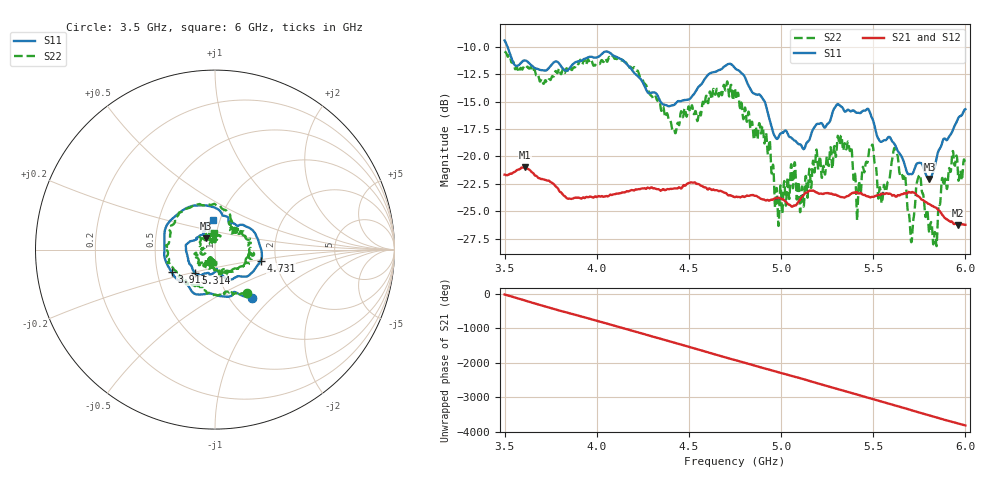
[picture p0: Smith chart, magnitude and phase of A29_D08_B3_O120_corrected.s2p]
! Created with skrf 1.9.0 (http://scikit-rf.org).
# Hz S RI R 50.0
!freq ReS11 ImS11 ReS21 ImS21 ReS12 ImS12 ReS22 ImS22
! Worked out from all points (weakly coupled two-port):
!   1601 points, 3.5 GHz to 6 GHz, reference 50 ohm
!   highest |S21| = -21.00 dB at 3.609 GHz (marker M1); lowest = -26.3 dB at 5.959 GHz (marker M2)
!   lowest |S11| = -22.1 dB at 5.805 GHz (marker M3), VSWR 1.17, Z = 45 + j5.61 ohm
!   |S11| at or under -10 dB: 3.516 GHz to end of sweep
!   |S22| runs from -28.2 to -10.4 dB; largest |S21 - S12| = 0.0011
!   S11 on the Smith chart (normalised r, x): 3.5 GHz: 1.26, -0.76; 3.913 GHz: 0.59, -0.16; 4.731 GHz: 1.67, -0.22; 5.314 GHz: 0.78, -0.21; 6 GHz: 0.93, +0.31
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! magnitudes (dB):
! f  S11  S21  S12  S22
! 3.5 GHz  -9.4  -21.7  -21.7  -10.4
! 3.609 GHz  -11.2  -21.0  -21.0  -11.8
! 3.913 GHz  -11.3  -23.8  -23.8  -11.2
! 3.917 GHz  -11.3  -23.9  -23.8  -11.5
! 4.334 GHz  -14.6  -23.0  -22.9  -14.8
! 4.42 GHz  -15.3  -22.9  -22.9  -17.5
! 4.731 GHz  -11.6  -23.6  -23.6  -13.7
! 4.75 GHz  -12.0  -23.7  -23.7  -13.8
! 4.928 GHz  -16.0  -24.0  -24.0  -19.8
! 4.978 GHz  -18.4  -23.8  -23.8  -23.2
! 5.167 GHz  -17.8  -23.1  -23.1  -21.9
! 5.314 GHz  -15.3  -23.6  -23.6  -18.7
! 5.42 GHz  -16.0  -23.4  -23.4  -22.8
! 5.487 GHz  -16.3  -23.7  -23.7  -19.3
! 5.537 GHz  -18.6  -23.5  -23.5  -22.9
! 5.584 GHz  -18.2  -23.4  -23.4  -22.3
! 5.622 GHz  -19.1  -23.7  -23.7  -19.4
! 5.703 GHz  -21.6  -23.3  -23.3  -27.4
! 5.747 GHz  -20.6  -23.6  -23.7  -21.8
! 5.805 GHz  -22.1  -24.4  -24.3  -27.0
! 5.959 GHz  -16.6  -26.3  -26.2  -21.5
! 6 GHz  -15.7  -26.3  -26.2  -20.5
